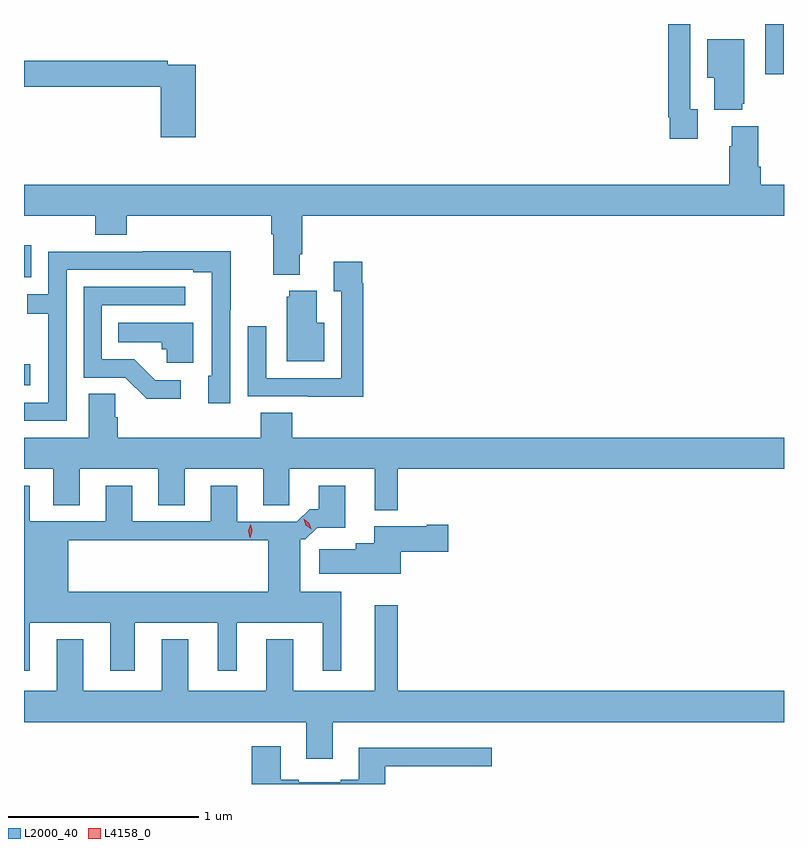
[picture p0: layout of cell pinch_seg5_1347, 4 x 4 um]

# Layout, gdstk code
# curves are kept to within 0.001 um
import gdstk
lib = gdstk.Library(unit=1e-6, precision=1e-09)
def R(c, l, rs):  # rectangles x0, y0, x1, y1
    for r in rs: c.add(gdstk.rectangle(r[:2], r[2:], *l))
def P(c, l, *ps):  # polygons
    for p in ps: c.add(gdstk.Polygon(p, *l))
L2000_40 = (2000, 40)
L4158_0 = (4158, 0)

pinch_seg5_1347 = lib.new_cell('pinch_seg5_1347')
R(pinch_seg5_1347, L2000_40, [(338.659,894.497,338.692,894.607), (338.659,895.065,338.697,895.234), (342.561,896.133,342.657,896.398)])
P(pinch_seg5_1347, L2000_40, [(342.205,895.95),(342.165,895.95),(342.165,896.398),(342.049,896.398),(342.049,895.906),(342.057,895.906),(342.057,895.794),(342.205,895.794)],
  [(342.44,895.977),(342.451,895.977),(342.451,896.317),(342.254,896.317),(342.254,896.114),(342.293,896.114),(342.293,895.946),(342.44,895.946)],
  [(339.563,896.184),(339.416,896.184),(339.416,896.204),(338.659,896.204),(338.659,896.068),(339.38,896.068),(339.38,895.803),(339.563,895.803)],
  [(340.111,895.186),(340.124,895.186),(340.124,895.388),(342.659,895.388),(342.659,895.552),(342.536,895.552),(342.536,895.648),(342.523,895.648),(342.523,895.861),(342.383,895.861),(342.383,895.754),(342.371,895.754),(342.371,895.552),(338.659,895.552),(338.659,895.388),(339.035,895.388),(339.035,895.289),(339.2,895.289),(339.2,895.388),(339.959,895.388),(339.959,895.292),(339.971,895.292),(339.971,895.079),(340.111,895.079)],
  [(338.883,895.104),(339.551,895.104),(339.551,895.092),(339.648,895.092),(339.648,894.546),(339.629,894.546),(339.629,894.402),(339.744,894.402),(339.744,894.895),(339.747,894.895),(339.747,895.202),(339.283,895.202),(339.283,895.2),(338.787,895.2),(338.787,894.975),(338.677,894.975),(338.677,894.874),(338.787,894.874),(338.787,894.405),(338.659,894.405),(338.659,894.309),(338.883,894.309)],
  [(340.445,895.034),(340.438,895.034),(340.438,895.147),(340.289,895.147),(340.289,894.991),(340.329,894.991),(340.329,894.534),(339.933,894.534),(339.933,894.808),(339.837,894.808),(339.837,894.438),(340.153,894.438),(340.153,894.437),(340.445,894.437)],
  [(339.484,894.522),(339.349,894.522),(339.238,894.633),(339.069,894.633),(339.069,894.918),(339.508,894.918),(339.508,895.014),(338.973,895.014),(338.973,894.537),(339.192,894.537),(339.305,894.425),(339.484,894.425)],
  [(340.24,894.826),(340.201,894.826),(340.201,894.994),(340.055,894.994),(340.055,894.963),(340.043,894.963),(340.043,894.623),(340.24,894.623)],
  [(339.55,894.826),(339.154,894.826),(339.154,894.722),(339.385,894.722),(339.385,894.687),(339.411,894.687),(339.411,894.614),(339.55,894.614)],
  [(340.627,894.056),(342.659,894.056),(342.659,894.22),(340.07,894.22),(340.07,894.353),(339.905,894.353),(339.905,894.22),(339.152,894.22),(339.152,894.329),(339.138,894.329),(339.138,894.452),(338.999,894.452),(338.999,894.22),(338.659,894.22),(338.659,894.056),(338.813,894.056),(338.813,893.866),(338.953,893.866),(338.953,894.056),(339.365,894.056),(339.365,893.866),(339.505,893.866),(339.505,894.056),(339.917,894.056),(339.917,893.866),(340.056,893.866),(340.056,894.056),(340.505,894.056),(340.505,893.84),(340.627,893.84)],
  [(338.689,892.995),(338.689,893.246),(339.113,893.246),(339.113,892.995),(339.241,892.995),(339.241,893.246),(339.68,893.246),(339.68,892.995),(339.778,892.995),(339.778,893.246),(340.232,893.246),(340.232,892.995),(340.33,892.995),(340.33,893.41),(340.114,893.41),(340.114,893.685),(340.14,893.685),(340.202,893.747),(340.351,893.747),(340.351,893.968),(340.211,893.968),(340.211,893.845),(340.162,893.845),(340.095,893.778),(339.781,893.778),(339.781,893.968),(339.641,893.968),(339.641,893.781),(339.229,893.781),(339.229,893.968),(339.089,893.968),(339.089,893.781),(338.689,893.781),(338.689,893.968),(338.659,893.968),(338.659,893.41),(338.893,893.41),(338.893,893.68),(339.944,893.68),(339.944,893.41),(338.659,893.41),(338.659,892.995)],
  [(340.642,893.621),(340.891,893.621),(340.891,893.763),(340.778,893.763),(340.778,893.755),(340.502,893.755),(340.502,893.665),(340.406,893.665),(340.406,893.633),(340.212,893.633),(340.212,893.504),(340.642,893.504)],
  [(340.285,892.724),(342.659,892.724),(342.659,892.888),(340.627,892.888),(340.627,893.338),(340.505,893.338),(340.505,892.888),(340.075,892.888),(340.075,893.161),(339.935,893.161),(339.935,892.888),(339.523,892.888),(339.523,893.161),(339.383,893.161),(339.383,892.888),(338.971,892.888),(338.971,893.161),(338.831,893.161),(338.831,892.888),(338.659,892.888),(338.659,892.724),(340.145,892.724),(340.145,892.53),(340.285,892.53)],
  [(340.561,892.491),(341.122,892.491),(341.122,892.588),(340.421,892.588),(340.421,892.42),(340.325,892.42),(340.325,892.407),(340.105,892.407),(340.105,892.42),(340.009,892.42),(340.009,892.597),(339.857,892.597),(339.857,892.398),(340.561,892.398)])
P(pinch_seg5_1347, L4158_0, [(340.17,893.738),(340.143,893.76),(340.131,893.793),(340.131,893.793),(340.131,893.793),(340.159,893.771),(340.171,893.738),(340.171,893.738)],
  [(339.848,893.694),(339.848,893.694),(339.84,893.73),(339.852,893.766),(339.852,893.766),(339.852,893.766),(339.86,893.73),(339.849,893.694)])

lib.write_gds('pinch_seg5_1347.gds')
